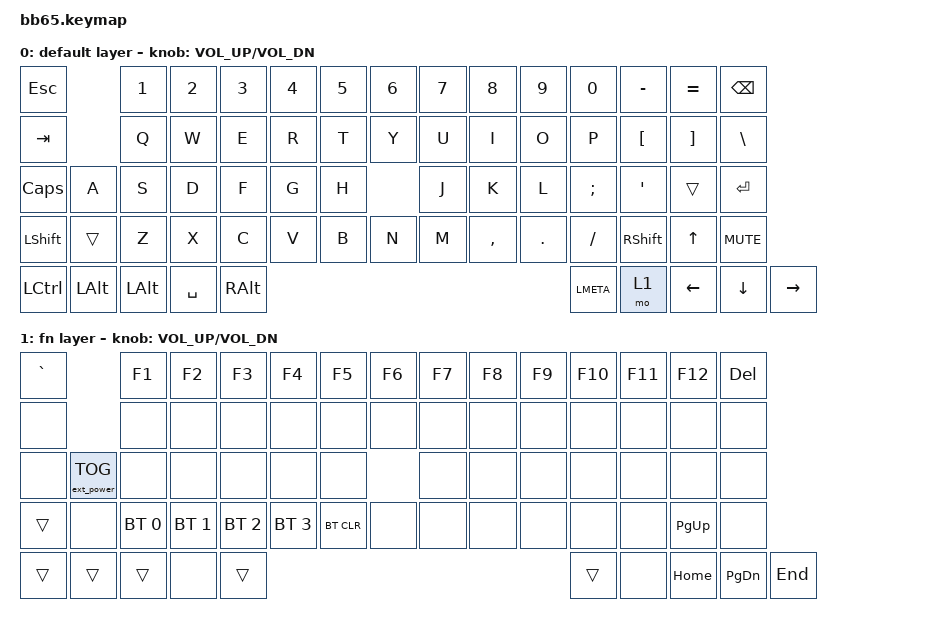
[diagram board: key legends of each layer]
/*
 * Copyright (c) 2023 The ZMK Contributors
 *
 * SPDX-License-Identifier: MIT
 */

#include <behaviors.dtsi>
#include <dt-bindings/zmk/keys.h>
#include <dt-bindings/zmk/bt.h>
#include <dt-bindings/zmk/rgb.h>
#include <dt-bindings/zmk/ext_power.h>
#include <dt-bindings/zmk/outputs.h>

#define DEFAULT  0
#define FN       1

// #define TIMEOUT 300

&encoder_1 {
    status = "okay";
};

/ {

    keymap0: keymap {
        compatible = "zmk,keymap";

        default_layer {
            label = "default layer";
            bindings = <
                &kp ESC             &kp N1     &kp N2    &kp N3   &kp N4   &kp N5   &kp N6   &kp N7   &kp N8      &kp N9    &kp N0     &kp MINUS         &kp EQUAL &kp BSPC
                &kp TAB             &kp Q      &kp W     &kp E    &kp R    &kp T    &kp Y    &kp U    &kp I       &kp O     &kp P      &kp LBKT          &kp RBKT  &kp BSLH
                &kp CLCK            &kp A      &kp S     &kp D    &kp F    &kp G    &kp H    &kp J    &kp K       &kp L     &kp SEMI   &kp APOS  &trans  &kp RET
                &kp LSHIFT &trans   &kp Z      &kp X     &kp C    &kp V    &kp B    &kp N    &kp M    &kp COMMA   &kp DOT   &kp FSLH   &kp RSHIFT        &kp UP    &kp C_MUTE
                &kp LCTRL           &kp LALT  &kp LALT                        &kp SPACE                          &kp RALT  &kp LMETA  &mo 1   &kp LEFT  &kp DOWN  &kp RIGHT
            >;
            sensor-bindings = <&inc_dec_kp C_VOL_UP C_VOL_DN>;
        };

        fn_layer {
            label = "fn layer";
        // --------------------------------------------------------------------------------------------------
        // |GRAVE| F1  | F2  | F3  | F4  | F5  | F6  | F7  | F8  | F9  | F10 | F11 | F12 |  DEL  |
        // | TAB  |  Q  |  W  |  E  | R | T |  Y  |  U  |  I  |  O  |  P  | [ |  ]  |  RESET      |
        // | CAPS  |  A  |  S  |  D  | F | G |  H  |  J  |  K  |  L  |  ;  |  '  |    BOOT        |
        // |  SHIFT   | Z | X | C | V | B |  N  |  M  |  ,  |  .  |  /  |    SHIFT      | PGUP | MUTE  |
        // | CTL | WIN |  ALT  |            SPACE               | ALT |  APP  | FN | HOME | PGDN | END |
        // --------------------------------------------------------------------------------------------------
      bindings = <
        &kp GRAVE    &kp F1    &kp F2    &kp F3    &kp F4    &kp F5    &kp F6    &kp F7    &kp F8   &kp F9   &kp F10   &kp F11       &kp F12      &kp DEL
        &none		 &none	   &none	 &none	   &none     &none     &none     &none     &none    &none    &none     &none         &none        &none
        &none        &ext_power EP_TOG     &none     &none     &none     &none     &none     &none     &none    &none    &none     &none &none   &none
        &trans &none  &bt BT_SEL 0     &bt BT_SEL 1     &bt BT_SEL 2     &bt BT_SEL 3     &bt BT_CLR     &none     &none     &none    &none    &none     &none         &kp PG_UP    &none
        &trans        &trans     &trans                              &none                    &trans    &trans    &none     &kp HOME      &kp PG_DN    &kp END
      >;
      sensor-bindings = <&inc_dec_kp C_VOL_UP C_VOL_DN>;
        };
    };
};
